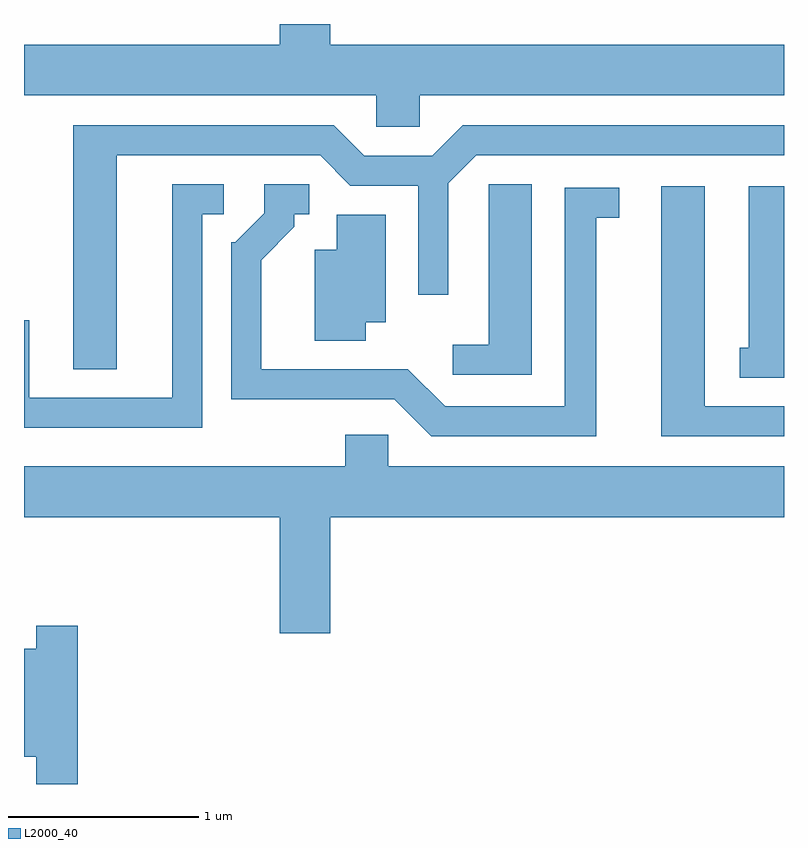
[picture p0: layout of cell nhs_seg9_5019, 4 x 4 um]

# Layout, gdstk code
import gdstk
lib = gdstk.Library(unit=1e-6, precision=1e-09)
def P(c, l, *ps):  # polygons
    for p in ps: c.add(gdstk.Polygon(p, *l))
L2000_40 = (2000, 40)

nhs_seg9_5019 = lib.new_cell('nhs_seg9_5019')
P(nhs_seg9_5019, L2000_40, [(335.694,1974.056),(337.611,1974.056),(337.611,1974.324),(335.224,1974.324),(335.224,1974.432),(334.956,1974.432),(334.956,1974.324),(333.611,1974.324),(333.611,1974.056),(335.466,1974.056),(335.466,1973.891),(335.694,1973.891)],
  [(334.099,1973.741),(335.169,1973.741),(335.329,1973.581),(335.686,1973.581),(335.686,1973.008),(335.844,1973.008),(335.844,1973.594),(335.992,1973.741),(337.611,1973.741),(337.611,1973.899),(335.919,1973.899),(335.759,1973.739),(335.402,1973.739),(335.242,1973.899),(333.871,1973.899),(333.871,1972.616),(334.099,1972.616)],
  [(334.549,1973.431),(334.663,1973.431),(334.663,1973.589),(334.391,1973.589),(334.391,1972.464),(333.639,1972.464),(333.639,1972.874),(333.611,1972.874),(333.611,1972.306),(334.549,1972.306)],
  [(336.624,1973.411),(336.743,1973.411),(336.743,1973.569),(336.456,1973.569),(336.456,1972.419),(335.827,1972.419),(335.632,1972.614),(334.859,1972.614),(334.859,1973.189),(335.034,1973.364),(335.034,1973.431),(335.113,1973.431),(335.113,1973.589),(334.876,1973.589),(334.876,1973.437),(334.724,1973.284),(334.701,1973.284),(334.701,1972.456),(335.559,1972.456),(335.754,1972.261),(336.624,1972.261)],
  [(336.284,1973.589),(336.056,1973.589),(336.056,1972.744),(335.868,1972.744),(335.868,1972.586),(336.284,1972.586)],
  [(337.611,1972.419),(337.194,1972.419),(337.194,1973.579),(336.966,1973.579),(336.966,1972.261),(337.611,1972.261)],
  [(337.611,1973.579),(337.426,1973.579),(337.426,1972.729),(337.378,1972.729),(337.378,1972.571),(337.611,1972.571)],
  [(335.409,1972.861),(335.514,1972.861),(335.514,1973.429),(335.256,1973.429),(335.256,1973.244),(335.141,1973.244),(335.141,1972.766),(335.409,1972.766)],
  [(335.224,1971.836),(337.611,1971.836),(337.611,1972.104),(335.529,1972.104),(335.529,1972.269),(335.301,1972.269),(335.301,1972.104),(333.611,1972.104),(333.611,1971.836),(334.956,1971.836),(334.956,1971.226),(335.224,1971.226)],
  [(333.894,1971.264),(333.676,1971.264),(333.676,1971.144),(333.611,1971.144),(333.611,1970.576),(333.676,1970.576),(333.676,1970.432),(333.894,1970.432)])

lib.write_gds('nhs_seg9_5019.gds')
